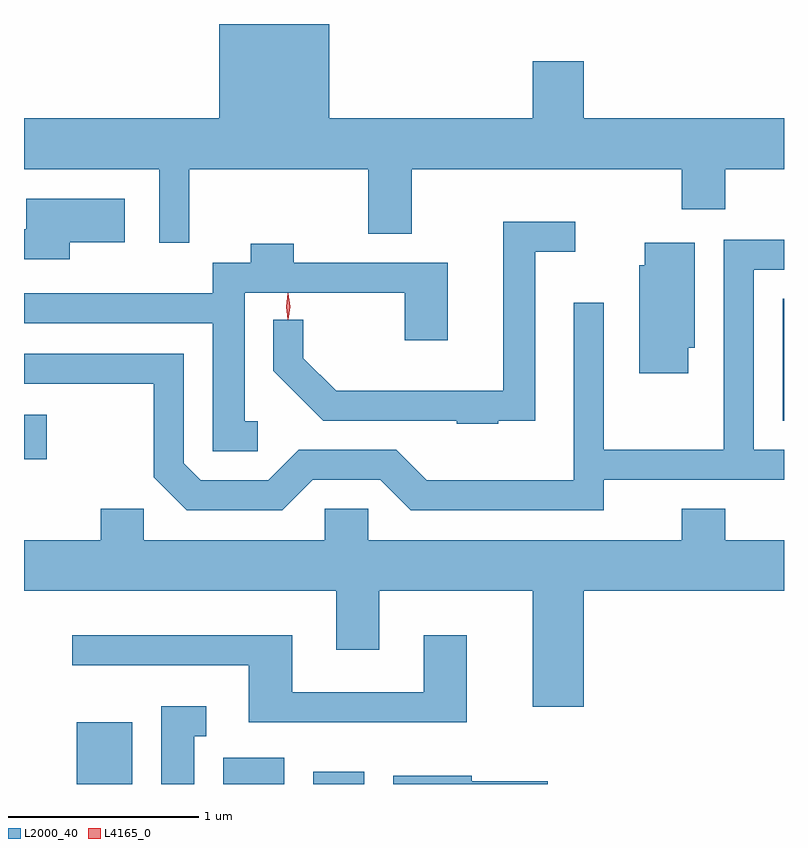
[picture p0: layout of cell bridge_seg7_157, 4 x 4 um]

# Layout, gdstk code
import gdstk
lib = gdstk.Library(unit=1e-6, precision=1e-09)
def R(c, l, rs):  # rectangles x0, y0, x1, y1
    for r in rs: c.add(gdstk.rectangle(r[:2], r[2:], *l))
def P(c, l, *ps):  # polygons
    for p in ps: c.add(gdstk.Polygon(p, *l))
L2000_40 = (2000, 40)
L4165_0 = (4165, 0)

bridge_seg7_157 = lib.new_cell('bridge_seg7_157')
R(bridge_seg7_157, L2000_40, [(1611.276,1731.06,1611.569,1731.384), (1612.046,1731.06,1612.369,1731.199), (1612.521,1731.06,1612.789,1731.124), (1610.998,1732.768,1611.119,1733.004), (1614.991,1732.971,1614.998,1733.614)])
P(bridge_seg7_157, L2000_40, [(1611.869,1734.296),(1612.811,1734.296),(1612.811,1733.956),(1613.039,1733.956),(1613.039,1734.296),(1614.461,1734.296),(1614.461,1734.086),(1614.689,1734.086),(1614.689,1734.296),(1614.998,1734.296),(1614.998,1734.564),(1613.944,1734.564),(1613.944,1734.864),(1613.676,1734.864),(1613.676,1734.564),(1612.604,1734.564),(1612.604,1735.06),(1612.026,1735.06),(1612.026,1734.564),(1610.998,1734.564),(1610.998,1734.296),(1611.711,1734.296),(1611.711,1733.908),(1611.869,1733.908)],
  [(1611.239,1733.911),(1611.529,1733.911),(1611.529,1734.139),(1611.011,1734.139),(1611.011,1733.979),(1610.998,1733.979),(1610.998,1733.821),(1611.239,1733.821)],
  [(1613.495,1732.971),(1613.689,1732.971),(1613.689,1733.861),(1613.898,1733.861),(1613.898,1734.019),(1613.521,1734.019),(1613.521,1733.129),(1612.642,1733.129),(1612.469,1733.302),(1612.469,1733.503),(1612.311,1733.503),(1612.311,1733.234),(1612.574,1732.971),(1613.275,1732.971),(1613.275,1732.956),(1613.495,1732.956)],
  [(1612.517,1732.661),(1612.874,1732.661),(1613.034,1732.501),(1614.049,1732.501),(1614.049,1732.661),(1614.998,1732.661),(1614.998,1732.819),(1614.839,1732.819),(1614.839,1733.766),(1614.998,1733.766),(1614.998,1733.924),(1614.681,1733.924),(1614.681,1732.819),(1614.049,1732.819),(1614.049,1733.593),(1613.891,1733.593),(1613.891,1732.659),(1613.117,1732.659),(1612.957,1732.819),(1612.444,1732.819),(1612.284,1732.659),(1611.927,1732.659),(1611.839,1732.747),(1611.839,1733.324),(1610.998,1733.324),(1610.998,1733.166),(1611.681,1733.166),(1611.681,1732.674),(1611.854,1732.501),(1612.357,1732.501)],
  [(1614.494,1733.356),(1614.529,1733.356),(1614.529,1733.909),(1614.266,1733.909),(1614.266,1733.789),(1614.236,1733.789),(1614.236,1733.221),(1614.494,1733.221)],
  [(1612.228,1732.969),(1612.159,1732.969),(1612.159,1733.646),(1613.001,1733.646),(1613.001,1733.396),(1613.229,1733.396),(1613.229,1733.804),(1612.419,1733.804),(1612.419,1733.904),(1612.191,1733.904),(1612.191,1733.804),(1611.991,1733.804),(1611.991,1733.644),(1610.998,1733.644),(1610.998,1733.486),(1611.991,1733.486),(1611.991,1732.811),(1612.228,1732.811)],
  [(1613.944,1732.076),(1614.998,1732.076),(1614.998,1732.344),(1614.689,1732.344),(1614.689,1732.509),(1614.461,1732.509),(1614.461,1732.344),(1612.809,1732.344),(1612.809,1732.509),(1612.581,1732.509),(1612.581,1732.344),(1611.629,1732.344),(1611.629,1732.509),(1611.401,1732.509),(1611.401,1732.344),(1610.998,1732.344),(1610.998,1732.076),(1612.641,1732.076),(1612.641,1731.766),(1612.869,1731.766),(1612.869,1732.076),(1613.676,1732.076),(1613.676,1731.466),(1613.944,1731.466)],
  [(1613.329,1731.844),(1613.101,1731.844),(1613.101,1731.544),(1612.409,1731.544),(1612.409,1731.844),(1611.253,1731.844),(1611.253,1731.686),(1612.181,1731.686),(1612.181,1731.386),(1613.329,1731.386)],
  [(1611.894,1731.311),(1611.958,1731.311),(1611.958,1731.469),(1611.721,1731.469),(1611.721,1731.06),(1611.894,1731.06)],
  [(1613.754,1731.074),(1613.354,1731.074),(1613.354,1731.104),(1612.941,1731.104),(1612.941,1731.06),(1613.754,1731.06)])
P(bridge_seg7_157, L4165_0, [(1612.388,1733.503),(1612.387,1733.504),(1612.378,1733.573),(1612.387,1733.642),(1612.388,1733.643),(1612.388,1733.642),(1612.398,1733.573),(1612.388,1733.504)])

lib.write_gds('bridge_seg7_157.gds')
